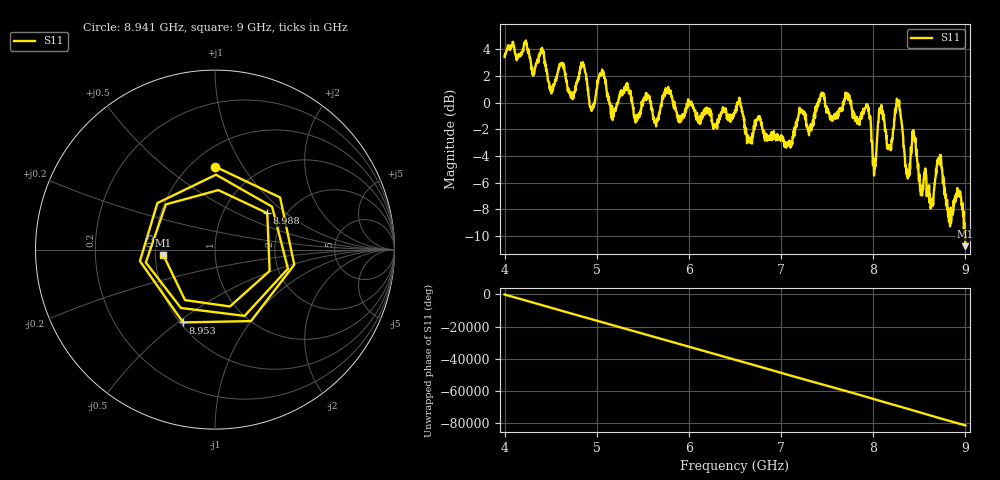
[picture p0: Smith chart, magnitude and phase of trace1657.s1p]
! Created with skrf 1.8.0 (http://scikit-rf.org).
# Hz S RI R 50.0
!freq ReS11 ImS11
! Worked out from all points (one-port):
!   1601 points, 4 GHz to 9 GHz, reference 50 ohm
!   lowest |S11| = -10.8 dB at 9 GHz (marker M1), VSWR 1.82, Z = 27.6 - j1.77 ohm
!   |S11| at or under -10 dB: 8.997844 GHz to end of sweep
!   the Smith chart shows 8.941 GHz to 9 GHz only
!   S11 on the Smith chart (normalised r, x): 8.941 GHz: 0.65, +0.76; 8.953 GHz: 0.52, -0.52; 8.988 GHz: 1.61, +0.75; 9 GHz: 0.55, -0.04
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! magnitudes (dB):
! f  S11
! 4 GHz  3.4
! 4.406 GHz  4.1
! 4.512 GHz  0.9
! 4.625 GHz  3.0
! 4.731 GHz  0.5
! 4.853 GHz  2.7
! 4.947 GHz  -0.4
! 5.05 GHz  2.1
! 5.162 GHz  -1.2
! 5.25 GHz  0.7
! 5.875 GHz  -0.9
! 6.5 GHz  -0.6
! 7.125 GHz  -2.5
! 7.75 GHz  0.0
! 7.944 GHz  -0.3
! 8.012 GHz  -4.7
! 8.078 GHz  -0.4
! 8.172 GHz  -3.2
! 8.272 GHz  -0.2
! 8.375 GHz  -5.7
! 8.441 GHz  -2.3
! 8.628 GHz  -7.8
! 8.712 GHz  -4.3
! 8.831 GHz  -9.0
! 8.941 GHz  -6.7
! 8.953 GHz  -7.1
! 8.988 GHz  -9.0
! 9 GHz  -10.8
